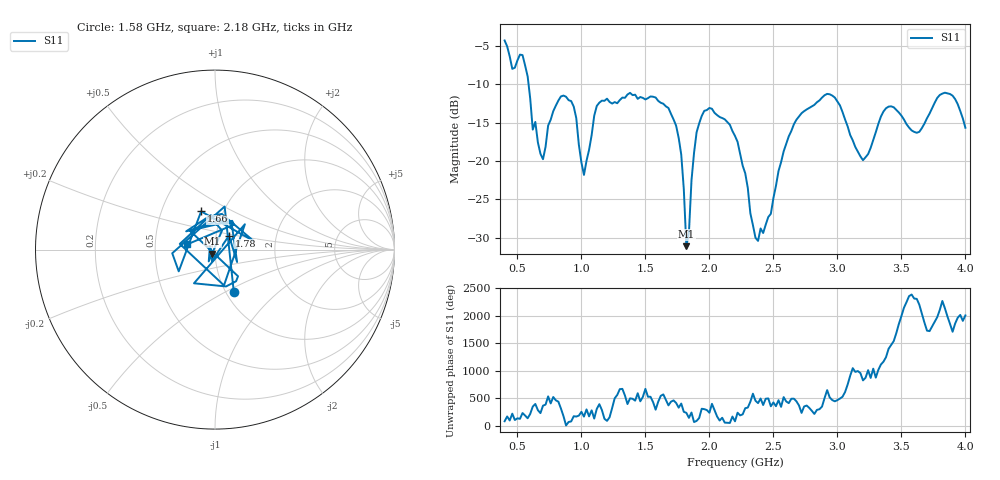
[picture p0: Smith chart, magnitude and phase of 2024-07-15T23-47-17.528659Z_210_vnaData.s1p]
!Created with skrf (http://scikit-rf.org).
# Hz S RI R 50.0
!freq ReS11 ImS11
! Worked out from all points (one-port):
!   181 points, 400 MHz to 4 GHz, reference 50 ohm
!   lowest |S11| = -31.1 dB at 1.82 GHz (marker M1), VSWR 1.06, Z = 48.4 - j2.25 ohm
!   |S11| at or under -10 dB: 587 MHz to end of sweep
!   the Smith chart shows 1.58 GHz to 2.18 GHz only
!   S11 on the Smith chart (normalised r, x): 1.58 GHz: 1.09, -0.55; 1.66 GHz: 0.79, +0.35; 1.78 GHz: 1.15, +0.18; 2.18 GHz: 0.73, +0.04
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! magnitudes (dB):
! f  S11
! 400 MHz  -4.3
! 460 MHz  -8.0
! 540 MHz  -6.2
! 620 MHz  -15.9
! 700 MHz  -19.8
! 860 MHz  -11.5
! 940 MHz  -12.9
! 1.02 GHz  -21.8
! 1.12 GHz  -12.8
! 1.3 GHz  -12.1
! 1.58 GHz  -11.7
! 1.66 GHz  -12.9
! 1.76 GHz  -17.0
! 1.78 GHz  -19.2
! 1.82 GHz  -31.1
! 1.88 GHz  -19.0
! 1.94 GHz  -14.1
! 2.18 GHz  -16.1
! 2.2 GHz  -16.7
! 2.38 GHz  -30.4
! 2.66 GHz  -15.2
! 2.94 GHz  -11.3
! 3.1 GHz  -16.6
! 3.2 GHz  -19.9
! 3.38 GHz  -13.1
! 3.56 GHz  -15.7
! 3.84 GHz  -11.1
! 4 GHz  -15.7
